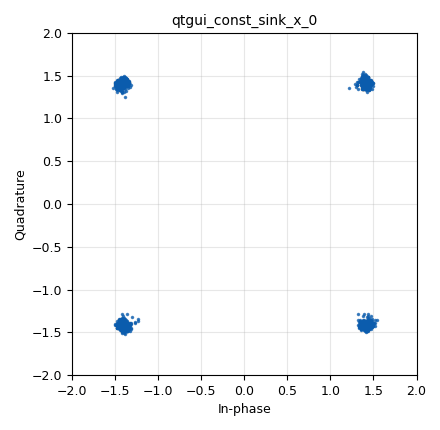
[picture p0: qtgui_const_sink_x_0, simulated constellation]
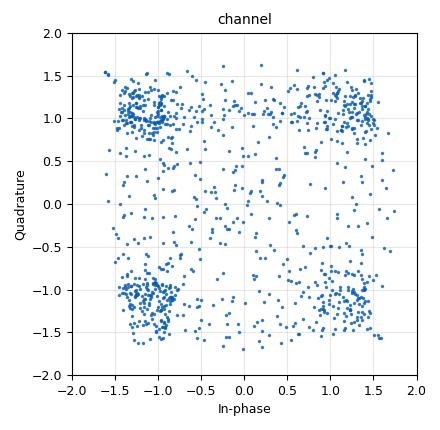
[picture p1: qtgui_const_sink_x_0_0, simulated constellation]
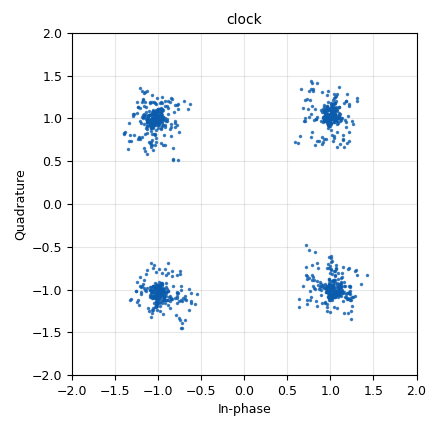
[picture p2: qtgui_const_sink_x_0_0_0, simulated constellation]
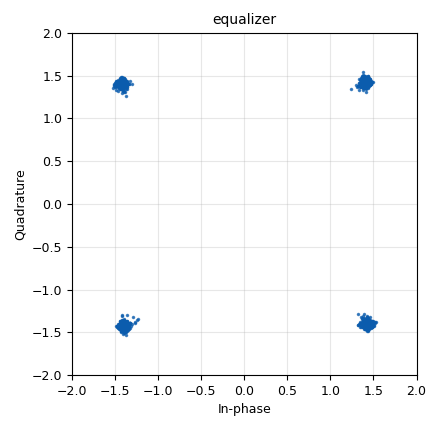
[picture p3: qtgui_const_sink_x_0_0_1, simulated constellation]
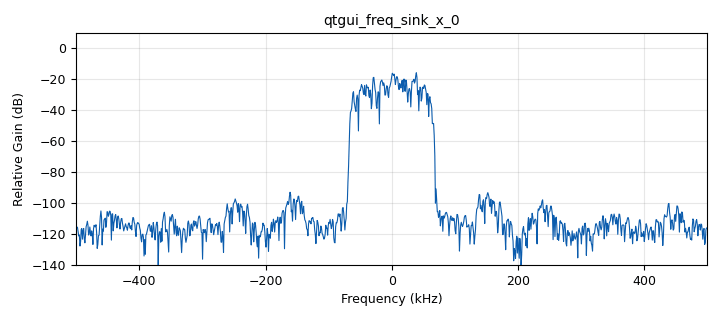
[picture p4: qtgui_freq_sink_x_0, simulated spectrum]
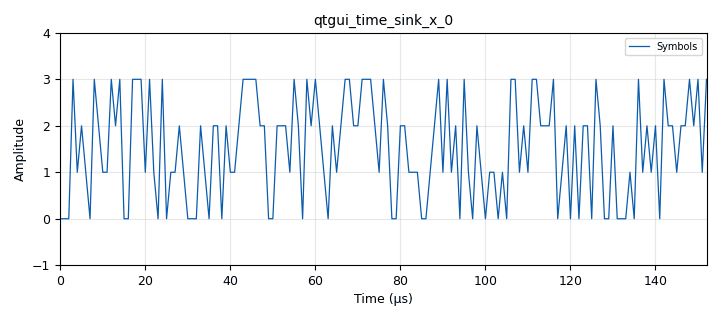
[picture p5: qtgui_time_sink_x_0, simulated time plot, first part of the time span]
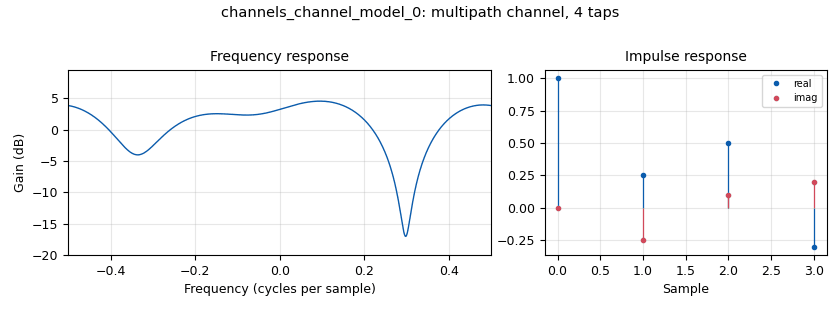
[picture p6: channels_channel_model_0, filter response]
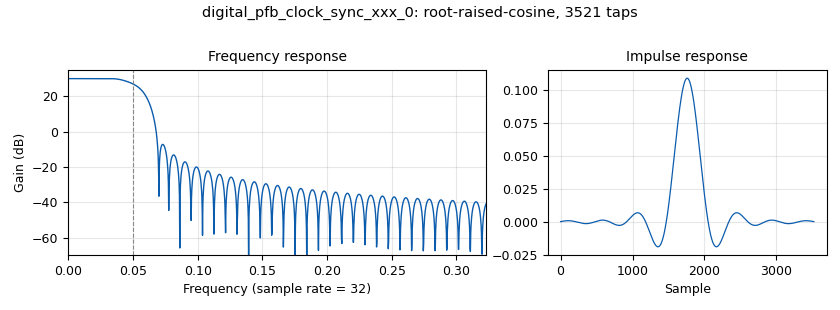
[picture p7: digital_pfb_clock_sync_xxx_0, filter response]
options:
  parameters:
    author: iar
    generate_options: qt_gui
    id: mpsk_phase_frequency_timing_decode
    output_language: python
    title: mpsk_phase_frequency_timing_decode
  states: {}

blocks:
- name: arity
  id: variable
  parameters:
    value: '4'
  states: {}
- name: delay
  id: variable_qtgui_range
  parameters:
    gui_hint: 1,0,1,1
    label: Delay
    start: '0'
    step: '1'
    stop: '200'
    value: '50'
  states: {}
- name: eq_gain
  id: variable_qtgui_range
  parameters:
    gui_hint: 'controls@1: 0,1,1,1'
    label: 'Equalizer: rate'
    start: '0.0'
    step: '0.001'
    stop: '0.1'
    value: '0.01'
    widget: slider
  states: {state: disabled}
- name: excess_bw
  id: variable
  parameters:
    value: '0.35'
  states: {}
- name: freq_offset
  id: variable_qtgui_range
  parameters:
    gui_hint: 'controls@0: 0,1,1,1'
    label: Frequency Offset
    start: '-0.1'
    step: '0.001'
    stop: '0.1'
    value: '0'
  states: {}
- name: nfilts
  id: variable
  parameters:
    value: '32'
  states: {}
- name: nfilts
  id: variable_qtgui_range
  parameters:
    gui_hint: 'controls@1: 0,1,1,1'
    label: 'Equalizer: nfilts'
    rangeType: int
    start: '1'
    step: '1'
    stop: '100'
    value: '32'
  states: {state: disabled}
- name: noise_volt
  id: variable_qtgui_range
  parameters:
    gui_hint: 'controls@0: 0,0,1,1'
    label: Noise Voltage
    start: '0'
    step: '0.01'
    stop: '1'
    value: '0.0001'
  states: {}
- name: phase_bw
  id: variable_qtgui_range
  parameters:
    gui_hint: 'controls@1: 0,2,1,1'
    label: 'Phase: Bandwidth'
    start: '0.0'
    step: '0.01'
    stop: '1.0'
    value: 6.28/100.0
    widget: slider
  states: {}
- name: qpsk
  id: variable_constellation_rect
  parameters:
    const_points: '[0.707+0.707j, -0.707+0.707j, -0.707-0.707j, 0.707-0.707j]'
    imag_sect: '2'
    real_sect: '2'
    rot_sym: '4'
    sym_map: '[0, 1, 2, 3]'
    w_imag_sect: '1'
    w_real_sect: '1'
  states: {}
- name: rrc_taps
  id: variable
  parameters:
    value: firdes.root_raised_cosine(nfilts, nfilts, 1.0/float(sps), 0.35, 11*sps*nfilts)
  states: {}
- name: samp_rate
  id: variable
  parameters:
    value: 1e6
  states: {}
- name: sps
  id: variable
  parameters:
    value: '10'
  states: {}
- name: taps
  id: variable
  parameters:
    value: '[1.0, 0.25-0.25j, 0.50 + 0.10j, -0.3 + 0.2j]'
  states: {}
- name: time_offset
  id: variable_qtgui_range
  parameters:
    gui_hint: 'controls@0: 0,2,1,1'
    label: Timing Offset
    start: '0.999'
    step: '0.0001'
    stop: '1.001'
    value: '1.00'
  states: {}
- name: timing_loop_bw
  id: variable_qtgui_range
  parameters:
    gui_hint: 'controls@1: 0,0,1,1'
    label: 'Time: BW'
    start: '0.0'
    step: '0.01'
    stop: '0.2'
    value: 6.28/100.0
    widget: slider
  states: {}
- name: variable_adaptive_algorithm_0
  id: variable_adaptive_algorithm
  parameters:
    cons: qpsk
    modulus: '4'
    step_size: '.0001'
    type: cma
  states: {}
- name: analog_random_source_x_0
  id: analog_random_source_x
  parameters:
    max: '256'
    min: '0'
    num_samps: '10000'
    repeat: 'True'
    type: byte
  states: {}
- name: blocks_char_to_float_0
  id: blocks_char_to_float
  parameters:
    scale: '1'
  states: {}
- name: blocks_char_to_float_0_0
  id: blocks_char_to_float
  parameters:
    scale: '1'
  states: {}
- name: blocks_char_to_float_0_0_0
  id: blocks_char_to_float
  parameters:
    scale: '1'
  states: {}
- name: blocks_delay_0
  id: blocks_delay
  parameters:
    delay: int(delay)
    type: float
  states: {}
- name: blocks_throttle_0
  id: blocks_throttle
  parameters:
    samples_per_second: samp_rate
    type: complex
  states: {}
- name: blocks_unpack_k_bits_bb_0
  id: blocks_unpack_k_bits_bb
  parameters:
    k: '2'
  states: {}
- name: blocks_unpack_k_bits_bb_0_0
  id: blocks_unpack_k_bits_bb
  parameters:
    k: '8'
  states: {}
- name: channels_channel_model_0
  id: channels_channel_model
  parameters:
    epsilon: time_offset
    freq_offset: freq_offset
    noise_voltage: noise_volt
    seed: '0'
    taps: taps
  states: {}
- name: controls
  id: qtgui_tab_widget
  parameters:
    gui_hint: 0,0,1,2
    label0: Channel
    label1: Receiver
    num_tabs: '2'
  states: {}
- name: digital_constellation_decoder_cb_0
  id: digital_constellation_decoder_cb
  parameters:
    constellation: qpsk
  states: {}
- name: digital_constellation_modulator_0
  id: digital_constellation_modulator
  parameters:
    constellation: qpsk
    differential: 'True'
    excess_bw: excess_bw
    samples_per_symbol: sps
  states: {}
- name: digital_costas_loop_cc_0
  id: digital_costas_loop_cc
  parameters:
    order: arity
    use_snr: 'True'
    w: phase_bw
  states: {}
- name: digital_diff_decoder_bb_0
  id: digital_diff_decoder_bb
  parameters:
    coding: digital.DIFF_DIFFERENTIAL
    modulus: '4'
  states: {}
- name: digital_linear_equalizer_0
  id: digital_linear_equalizer
  parameters:
    alg: variable_adaptive_algorithm_0
    num_taps: '15'
    sps: '2'
  states: {}
- name: digital_map_bb_0
  id: digital_map_bb
  parameters:
    map: '[0,1,2,3]'
  states: {}
- name: digital_pfb_clock_sync_xxx_0
  id: digital_pfb_clock_sync_xxx
  parameters:
    filter_size: nfilts
    init_phase: nfilts/2
    loop_bw: timing_loop_bw
    max_dev: '1.5'
    osps: '2'
    sps: sps
    taps: rrc_taps
    type: ccf
  states: {}
- name: note_0
  id: note
  parameters:
    comment: |-
      The CMA equalizer has been
      replaced by a Linear Equalizer
      and an Adaptive Algorithm for
      version 3.9
    note: CMA equalizer replaced
  states: {}
- name: qtgui_const_sink_x_0
  id: qtgui_const_sink_x
  parameters:
    gui_hint: 'received@0: 0,0,1,1'
    size: '1024'
    type: complex
  states: {}
- name: qtgui_const_sink_x_0_0
  id: qtgui_const_sink_x
  parameters:
    name: '"channel"'
    size: '1024'
    type: complex
  states: {}
- name: qtgui_const_sink_x_0_0_0
  id: qtgui_const_sink_x
  parameters:
    name: '"clock"'
    size: '1024'
    type: complex
  states: {}
- name: qtgui_const_sink_x_0_0_1
  id: qtgui_const_sink_x
  parameters:
    name: '"equalizer"'
    size: '1024'
    type: complex
  states: {}
- name: qtgui_freq_sink_x_0
  id: qtgui_freq_sink_x
  parameters:
    bw: samp_rate
    fc: '0'
    fftsize: '1024'
    type: complex
  states: {}
- name: qtgui_time_sink_x_0
  id: qtgui_time_sink_x
  parameters:
    gui_hint: 'received@1: 0,0,1,1'
    label1: Symbols
    name: ''
    size: '500'
    srate: samp_rate
    type: float
    ymax: '4'
  states: {}
- name: qtgui_time_sink_x_0_0
  id: qtgui_time_sink_x
  parameters:
    gui_hint: 2,1,1,1
    label1: Rx Bits
    label2: Tx Bits
    name: ''
    nconnections: '2'
    size: '128'
    srate: samp_rate
    tr_mode: qtgui.TRIG_MODE_AUTO
    type: float
    ymax: '2'
  states: {}
- name: received
  id: qtgui_tab_widget
  parameters:
    gui_hint: 2,0,1,1
    label0: Constellation
    label1: Symbols
    num_tabs: '2'
  states: {}

connections:
- [analog_random_source_x_0, '0', blocks_unpack_k_bits_bb_0_0, '0']
- [analog_random_source_x_0, '0', digital_constellation_modulator_0, '0']
- [blocks_char_to_float_0, '0', qtgui_time_sink_x_0, '0']
- [blocks_char_to_float_0_0, '0', qtgui_time_sink_x_0_0, '0']
- [blocks_char_to_float_0_0_0, '0', blocks_delay_0, '0']
- [blocks_delay_0, '0', qtgui_time_sink_x_0_0, '1']
- [blocks_throttle_0, '0', channels_channel_model_0, '0']
- [blocks_unpack_k_bits_bb_0, '0', blocks_char_to_float_0_0, '0']
- [blocks_unpack_k_bits_bb_0_0, '0', blocks_char_to_float_0_0_0, '0']
- [channels_channel_model_0, '0', digital_pfb_clock_sync_xxx_0, '0']
- [channels_channel_model_0, '0', qtgui_const_sink_x_0_0, '0']
- [channels_channel_model_0, '0', qtgui_freq_sink_x_0, '0']
- [digital_constellation_decoder_cb_0, '0', blocks_char_to_float_0, '0']
- [digital_constellation_decoder_cb_0, '0', digital_diff_decoder_bb_0, '0']
- [digital_constellation_modulator_0, '0', blocks_throttle_0, '0']
- [digital_costas_loop_cc_0, '0', digital_constellation_decoder_cb_0, '0']
- [digital_costas_loop_cc_0, '0', qtgui_const_sink_x_0, '0']
- [digital_diff_decoder_bb_0, '0', digital_map_bb_0, '0']
- [digital_linear_equalizer_0, '0', digital_costas_loop_cc_0, '0']
- [digital_linear_equalizer_0, '0', qtgui_const_sink_x_0_0_1, '0']
- [digital_map_bb_0, '0', blocks_unpack_k_bits_bb_0, '0']
- [digital_pfb_clock_sync_xxx_0, '0', digital_linear_equalizer_0, '0']
- [digital_pfb_clock_sync_xxx_0, '0', qtgui_const_sink_x_0_0_0, '0']

metadata:
  file_format: 1
